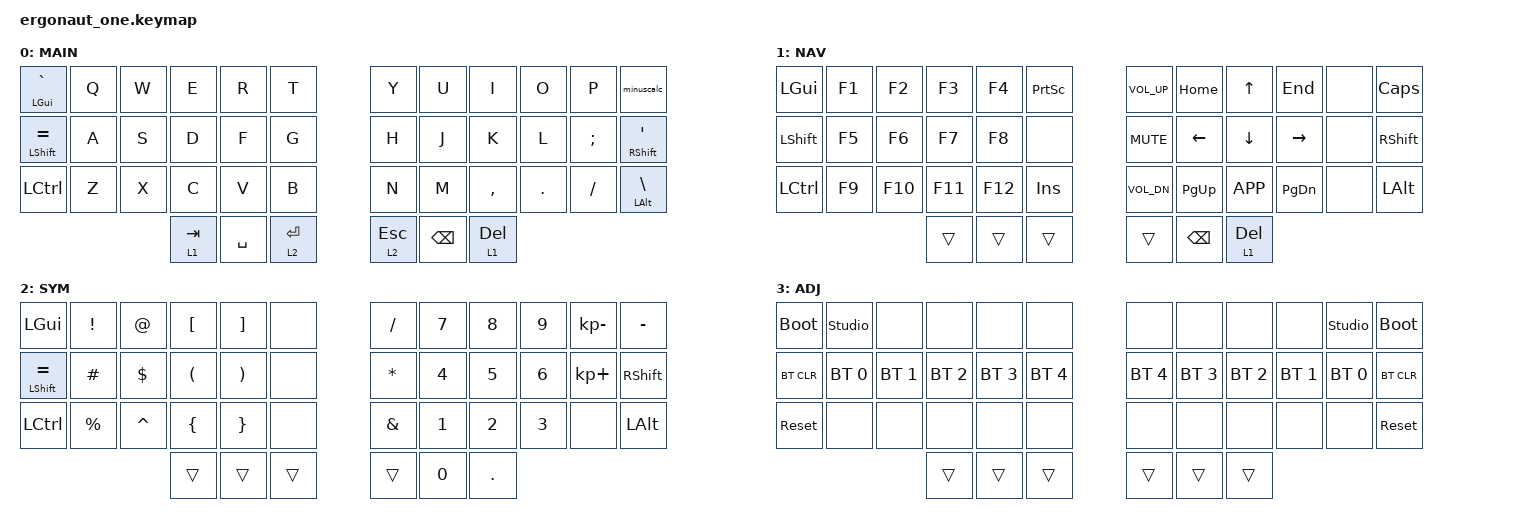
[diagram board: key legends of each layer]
#include <behaviors.dtsi>
#include <dt-bindings/zmk/bt.h>
#include <dt-bindings/zmk/keys.h>

&lt { quick-tap-ms = <200>; };

&mt { quick-tap-ms = <200>; };

&sl { release-after-ms = <2000>; };

/ {
    combos {
        compatible = "zmk,combos";

        rightblu {
            bindings = <&sl 3>;
            key-positions = <41 40 39>;
        };

        leftblu {
            bindings = <&sl 3>;
            key-positions = <38 37 36>;
        };
    };

    behaviors {
        minuscalc: minuscalc {
            compatible = "zmk,behavior-mod-morph";
            label = "MINUSCALC";
            bindings = <&kp MINUS>, <&kp K_CALC>;

            #binding-cells = <0>;
            mods = <(MOD_RALT|MOD_LALT)>;
        };
    };

    keymap {
        compatible = "zmk,keymap";

        main {
            display-name = "MAIN";
            bindings = <
&mt LGUI GRAVE    &kp Q  &kp W  &kp E      &kp R      &kp T      &kp Y      &kp U          &kp I      &kp O    &kp P     &minuscalc
&mt LSHIFT EQUAL  &kp A  &kp S  &kp D      &kp F      &kp G      &kp H      &kp J          &kp K      &kp L    &kp SEMI  &mt RSHIFT SQT
&kp LCTRL         &kp Z  &kp X  &kp C      &kp V      &kp B      &kp N      &kp M          &kp COMMA  &kp DOT  &kp FSLH  &mt LALT BSLH
                                &lt 1 TAB  &kp SPACE  &lt 2 RET  &lt 2 ESC  &kp BACKSPACE  &lt 1 DEL
            >;
        };

        navigation {
            display-name = "NAV";
            bindings = <
&kp LEFT_GUI  &kp F1  &kp F2   &kp F3   &kp F4   &kp PSCRN  &kp C_VOL_UP  &kp HOME       &kp UP     &kp END    &none  &kp CAPS
&kp LSHIFT    &kp F5  &kp F6   &kp F7   &kp F8   &none      &kp K_MUTE    &kp LEFT       &kp DOWN   &kp RIGHT  &none  &kp RSHFT
&kp LCTRL     &kp F9  &kp F10  &kp F11  &kp F12  &kp INS    &kp C_VOL_DN  &kp PG_UP      &kp K_APP  &kp PG_DN  &none  &kp LALT
                               &trans   &trans   &trans     &trans        &kp BACKSPACE  &lt 1 DEL
            >;
        };

        symbols {
            display-name = "SYM";
            bindings = <
&kp LEFT_GUI      &kp EXCLAMATION  &kp AT_SIGN  &kp LBKT        &kp RBKT         &none   &kp SLASH      &kp N7  &kp N8   &kp N9  &kp KP_MINUS  &kp MINUS
&mt LSHIFT EQUAL  &kp HASH         &kp DOLLAR   &kp LPAR        &kp RPAR         &none   &kp STAR       &kp N4  &kp N5   &kp N6  &kp KP_PLUS   &kp RSHIFT
&kp LCTRL         &kp PERCENT      &kp CARET    &kp LEFT_BRACE  &kp RIGHT_BRACE  &none   &kp AMPERSAND  &kp N1  &kp N2   &kp N3  &none         &kp LALT
                                                &trans          &trans           &trans  &trans         &kp N0  &kp DOT
            >;
        };

        bluetooth {
            display-name = "ADJ";
            bindings = <
&bootloader  &studio_unlock  &none         &none         &none         &none         &none         &none         &none         &none         &studio_unlock  &bootloader
&bt BT_CLR   &bt BT_SEL 0    &bt BT_SEL 1  &bt BT_SEL 2  &bt BT_SEL 3  &bt BT_SEL 4  &bt BT_SEL 4  &bt BT_SEL 3  &bt BT_SEL 2  &bt BT_SEL 1  &bt BT_SEL 0    &bt BT_CLR
&sys_reset   &none           &none         &none         &none         &none         &none         &none         &none         &none         &none           &sys_reset
                                           &trans        &trans        &trans        &trans        &trans        &trans
            >;
        };
    };
};
